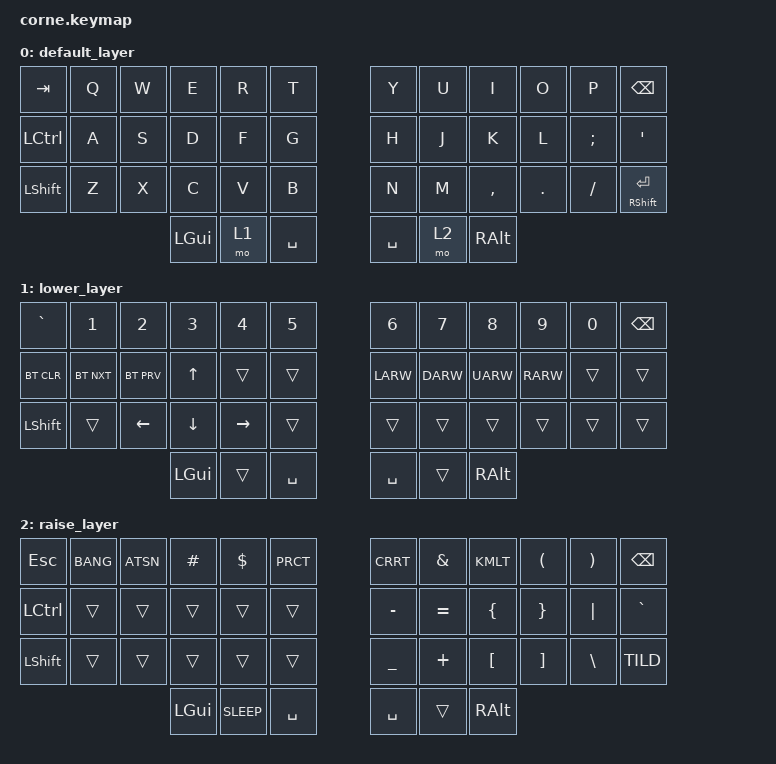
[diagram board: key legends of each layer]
/*
 * Copyright (c) 2020 The ZMK Contributors
 *
 * SPDX-License-Identifier: MIT
 */

#include <behaviors.dtsi>
#include <dt-bindings/zmk/keys.h>
#include <dt-bindings/zmk/bt.h>

/ {
        keymap {
                compatible = "zmk,keymap";

                default_layer {
// -----------------------------------------------------------------------------------------
// |  TAB |  Q  |  W  |  E   |  R  |  T  |      |  Y  |  U   |  I  |  O  |  P  | BKSP |
// | CTRL |  A  |  S  |  D   |  F  |  G  |      |  H  |  J   |  K  |  L  |  ;  |  '   |
// | SHFT |  Z  |  X  |  C   |  V  |  B  |      |  N  |  M   |  ,  |  .  |  /  | &mt SHFT ENT |
//                    | LGUI | LWR | SPC |      | SPC | RSE  | ALT |
                        bindings = <
   &kp TAB   &kp Q &kp W &kp E &kp R &kp T      &kp Y &kp U  &kp I    &kp O   &kp P    &kp BKSP
   &kp LCTRL &kp A &kp S &kp D &kp F &kp G      &kp H &kp J  &kp K    &kp L   &kp SCLN &kp QUOT
   &kp LSHFT &kp Z &kp X &kp C &kp V &kp B      &kp N &kp M  &kp CMMA &kp DOT &kp FSLH &mt RSHFT ENTER
                   &kp LGUI &mo 1 &kp SPC       &kp SPC &mo 2 &kp RALT
                        >;
                };
                lower_layer {
// -----------------------------------------------------------------------------------------
// | GRAVE  |  1    |  2    |  3   |  4   |  5    |      |  6  |  7  |  8  |  9  |  0  | BKSP |
// | BTCLR  | BTNXT | BTPRV |  UP  |      |       |      | LFT | DWN |  UP | RGT |     |      |
// | SHFT   |       | LEFT  | DOWN | RIGHT|       |      |     |     |     |     |     |      |
//                          | GUI  |      | SPC   |      | SPC |     | ALT |
                        bindings = <
   &kp GRAVE    &kp NUM_1    &kp NUM_2    &kp NUM_3    &kp NUM_4    &kp NUM_5       &kp NUM_6 &kp NUM_7 &kp NUM_8 &kp NUM_9 &kp NUM_0 &kp BKSP
   &bt BT_CLR   &bt BT_NXT   &bt BT_PRV   &kp UP       &trans       &trans          &kp LARW  &kp DARW  &kp UARW  &kp RARW  &trans    &trans
   &kp LSHFT    &trans       &kp LEFT     &kp DOWN     &kp RIGHT    &trans          &trans    &trans    &trans    &trans    &trans    &trans
                                          &kp LGUI     &trans       &kp SPC         &kp SPC   &trans    &kp RALT
                        >;
                };

                raise_layer {
// -----------------------------------------------------------------------------------------
// |  ESC |  !  |  @  |  #  |  $      |  %  |      |  ^  |  &  |  *  |  (  |  )  | BKSP |
// | CTRL |     |     |     |         |     |      |  -  |  =  |  {  |  }  | "|" |  `   |
// | SHFT |     |     |     |         |     |      |  _  |  +  |  [  |  ]  |  \  |  ~   |
//                    | GUI | C_SLEEP |     |      | SPC |     | ALT |
                        bindings = <
   &kp  ESC   &kp BANG  &kp ATSN  &kp HASH  &kp DOLLAR  &kp PRCT      &kp CRRT  &kp AMPS &kp KMLT &kp LPRN &kp RPRN &kp BKSP
   &kp LCTRL  &trans    &trans    &trans    &trans      &trans        &kp MINUS &kp EQL  &kp LBRC &kp RBRC &kp PIPE &kp GRAV
   &kp LSHFT  &trans    &trans    &trans    &trans      &trans        &kp UNDER &kp PLUS &kp LBKT &kp RBKT &kp BSLH &kp TILD
                                  &kp LGUI  &kp C_SLEEP &kp SPC       &kp SPC   &trans   &kp RALT
                        >;
                };
        };
};

